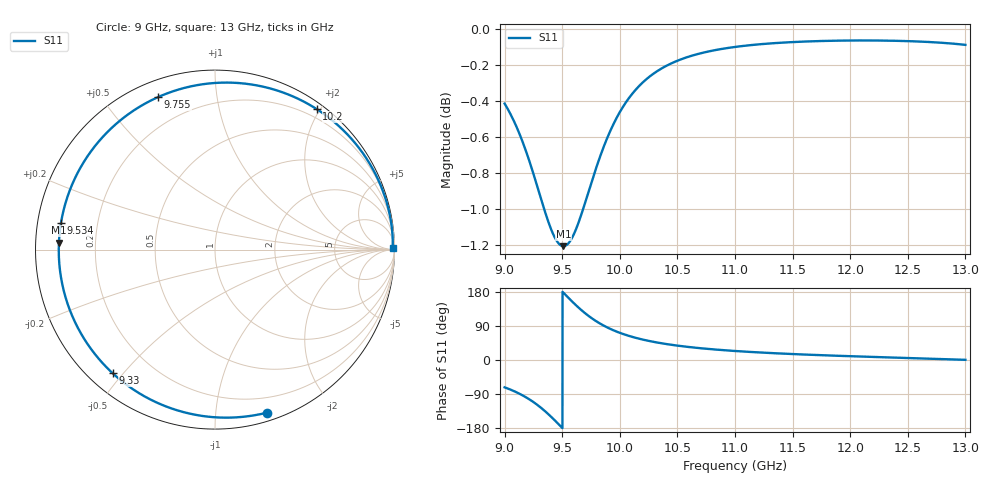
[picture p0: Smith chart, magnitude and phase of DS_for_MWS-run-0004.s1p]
! TOUCHSTONE file generated by CST DESIGN STUDIO
! Date and time: Tue Feb  4 18:28:24 2025
! Project name: C:\Work\MatlabApps\UnitCellOptimizationMatlab\CST\unitcell.cst
! Tree item: Tasks\Sweep1\SPara1\S-Parameters
! Header version: 2024
! Port assignment regex: !\s*Touchstone port\s*([0-9]+)\s*=\s*(CST MWS port|CST DES external port|CST DES block port)\s*(.+)\s* \(\"(.*)\"\)(\s*mode\s*([0-9]+))?.*
! Touchstone port assignment:
! Touchstone port 1 = CST DES external port 1 ("")
# GHz S MA R 50
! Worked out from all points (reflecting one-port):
!   4001 points, 9 GHz to 13 GHz, reference 50 ohm
!   lowest |S11| = -1.2 dB at 9.511 GHz (marker M1), VSWR 14.44, Z = 3.46 + j1.13 ohm
!   phase of S11 starts at -72 deg and turns -287 deg over the sweep
!   S11 on the Smith chart (normalised r, x): 9 GHz: 0.07, -1.37; 9.33 GHz: 0.07, -0.47; 9.534 GHz: 0.07, +0.09; 9.755 GHz: 0.07, +0.69; 10.2 GHz: 0.08, +1.95; 13 GHz: open
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9  0.9536 -72.2
9.088  0.9419 -83.0
9.191  0.924 -99.4
9.263  0.9089 -113.7
9.33  0.8942 -129.6
9.375  0.885 -141.6
9.423  0.877 -155.5
9.462  0.8725 -167.3
9.5  0.8706 -179.2
9.511  0.8705 177.4
9.534  0.8709 170.2
9.587  0.8753 154.0
9.648  0.8848 136.6
9.701  0.8954 122.9
9.755  0.9069 110.5
9.805  0.9172 100.4
9.861  0.9277 90.6
10  0.9484 71.7
10.093  0.9583 62.3
10.196  0.9664 54.1
10.335  0.9741 45.5
10.5  0.9801 37.9
10.722  0.9851 30.5
11  0.9888 23.8
11.5  0.9919 15.7
12  0.9929 10.0
12.5  0.9925 5.3
13  0.9901 0.4
